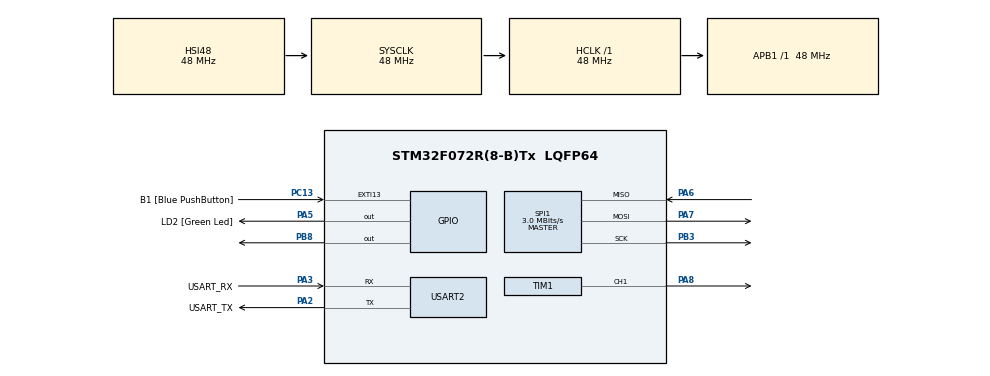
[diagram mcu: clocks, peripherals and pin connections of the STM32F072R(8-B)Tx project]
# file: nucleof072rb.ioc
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Mcu.Family=STM32F0
Mcu.Name=STM32F072R(8-B)Tx
Mcu.Package=LQFP64
PA13.Mode=Serial_Wire
PA13.Signal=SYS_SWDIO
PA14.GPIO_Label=TCK
PA14.Mode=Serial_Wire
PA14.Signal=SYS_SWCLK
PA2.GPIO_Label=USART_TX
PA2.GPIO_Mode=GPIO_MODE_AF_PP
PA2.GPIO_PuPd=GPIO_NOPULL
PA2.GPIO_Speed=GPIO_SPEED_FREQ_LOW
PA2.Mode=Asynchronous
PA2.Signal=USART2_TX
PA3.GPIO_Label=USART_RX
PA3.GPIO_Mode=GPIO_MODE_AF_PP
PA3.GPIO_PuPd=GPIO_NOPULL
PA3.GPIO_Speed=GPIO_SPEED_FREQ_LOW
PA3.Mode=Asynchronous
PA3.Signal=USART2_RX
PA5.GPIO_Label=LD2 [Green Led]
PA5.GPIO_Mode=GPIO_MODE_OUTPUT_PP
PA5.GPIO_PuPd=GPIO_NOPULL
PA5.GPIO_Speed=GPIO_SPEED_FREQ_LOW
PA5.Signal=GPIO_Output
PA6.Mode=Full_Duplex_Master
PA6.Signal=SPI1_MISO
PA7.Mode=Full_Duplex_Master
PA7.Signal=SPI1_MOSI
PA8.Signal=S_TIM1_CH1
PB3.Mode=Full_Duplex_Master
PB3.Signal=SPI1_SCK
PB8.Signal=GPIO_Output
PC13.GPIO_Label=B1 [Blue PushButton]
PC13.GPIO_ModeDefaultEXTI=GPIO_MODE_IT_FALLING
PC13.Signal=GPXTI13
PC14-OSC32_IN.Mode=LSE-External-Oscillator
PC14-OSC32_IN.Signal=RCC_OSC32_IN
PC15-OSC32_OUT.Mode=LSE-External-Oscillator
PC15-OSC32_OUT.Signal=RCC_OSC32_OUT
PF0-OSC_IN.Mode=HSE-External-Clock-Source
PF0-OSC_IN.Signal=RCC_OSC_IN
PF1-OSC_OUT.Signal=RCC_OSC_OUT
ProjectManager.HeapSize=0x200
ProjectManager.StackSize=0x400
ProjectManager.TargetToolchain=STM32CubeIDE
RCC.AHBFreq_Value=48000000
RCC.APB1Freq_Value=48000000
RCC.APB1TimFreq_Value=48000000
RCC.FLatency-AdvancedSettings=FLASH_LATENCY_1
RCC.HCLKFreq_Value=48000000
RCC.PLLDivider=RCC_PREDIV_DIV2
RCC.PLLMUL=RCC_PLL_MUL12
RCC.PREFETCH_ENABLE-AdvancedSettings=1
RCC.SYSCLKFreq_VALUE=48000000
RCC.SYSCLKSource=RCC_SYSCLKSOURCE_HSI48
SH.S_TIM1_CH1.0=TIM1_CH1,PWM Generation1 CH1
SPI1.BaudRatePrescaler=SPI_BAUDRATEPRESCALER_16
SPI1.CalculateBaudRate=3.0 MBits/s
SPI1.DataSize=SPI_DATASIZE_8BIT
SPI1.Direction=SPI_DIRECTION_2LINES
SPI1.Mode=SPI_MODE_MASTER
SPI1.VirtualType=VM_MASTER
TIM1.Channel-PWM\ Generation1\ CH1=TIM_CHANNEL_1
TIM1.Prescaler=47
TIM1.Pulse-PWM\ Generation1\ CH1=1500
USART2.VirtualMode=VM_ASYNC
USART2.VirtualMode-Asynchronous=VM_ASYNC
VP_TIM1_VS_ClockSourceINT.Mode=Internal
board=NUCLEO-F072RB

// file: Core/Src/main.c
/* USER CODE BEGIN Header */
/**
  ******************************************************************************
  * @file           : main.c
  * @brief          : Main program body
  ******************************************************************************
  * @attention
  *
  * <h2><center>&copy; Copyright (c) 2021 STMicroelectronics.
  * All rights reserved.</center></h2>
  *
  * This software component is licensed by ST under BSD 3-Clause license,
  * the "License"; You may not use this file except in compliance with the
  * License. You may obtain a copy of the License at:
  *                        opensource.org/licenses/BSD-3-Clause
  *
  ******************************************************************************
  */
/* USER CODE END Header */
#include "main.h"
#include "spi.h"
#include "tim.h"
#include "usart.h"
#include "gpio.h"

/* USER CODE BEGIN PV */

	char uart_buf[50];
	int uart_buf_len;
	char spi_buf[20];

/* USER CODE END PV */

void SystemClock_Config(void);
uint16_t readADC(int8_t channel);
void setPWM(uint16_t adc_value);

int main(void)
{

  /* MCU Configuration--------------------------------------------------------*/

  /* Reset of all peripherals, Initializes the Flash interface and the Systick. */
  HAL_Init();

  /* Configure the system clock */
  SystemClock_Config();

  /* Initialize all configured peripherals */
  MX_GPIO_Init();
  MX_USART2_UART_Init();
  MX_SPI1_Init();
  MX_TIM1_Init();

  /* USER CODE BEGIN 2 */
  HAL_TIM_PWM_Start(&htim1, TIM_CHANNEL_1);

  uint32_t initial_duty_cycle = (5 * (TIM1->ARR + 1)) / 100;
  __HAL_TIM_SET_COMPARE(&htim1, TIM_CHANNEL_1, initial_duty_cycle);
  /* USER CODE END 2 */

  /* Infinite loop */
  /* USER CODE BEGIN WHILE */
  while (1)
  {
	  uint16_t adc_value = readADC(0);
	  setPWM(adc_value);

  }
    /* USER CODE END WHILE */

    /* USER CODE BEGIN 3 */
  HAL_Delay(10);
  /* USER CODE END 3 */
}

void SystemClock_Config(void)
{
  RCC_OscInitTypeDef RCC_OscInitStruct = {0};
  RCC_ClkInitTypeDef RCC_ClkInitStruct = {0};
  RCC_PeriphCLKInitTypeDef PeriphClkInit = {0};

  /** Initializes the RCC Oscillators according to the specified parameters
  * in the RCC_OscInitTypeDef structure.
  */
  RCC_OscInitStruct.OscillatorType = RCC_OSCILLATORTYPE_HSI48;
  RCC_OscInitStruct.HSI48State = RCC_HSI48_ON;
  RCC_OscInitStruct.PLL.PLLState = RCC_PLL_NONE;
  if (HAL_RCC_OscConfig(&RCC_OscInitStruct) != HAL_OK)
  {
    Error_Handler();
  }
  /** Initializes the CPU, AHB and APB buses clocks
  */
  RCC_ClkInitStruct.ClockType = RCC_CLOCKTYPE_HCLK|RCC_CLOCKTYPE_SYSCLK
                              |RCC_CLOCKTYPE_PCLK1;
  RCC_ClkInitStruct.SYSCLKSource = RCC_SYSCLKSOURCE_HSI48;
  RCC_ClkInitStruct.AHBCLKDivider = RCC_SYSCLK_DIV1;
  RCC_ClkInitStruct.APB1CLKDivider = RCC_HCLK_DIV1;

  if (HAL_RCC_ClockConfig(&RCC_ClkInitStruct, FLASH_LATENCY_1) != HAL_OK)
  {
    Error_Handler();
  }
  PeriphClkInit.PeriphClockSelection = RCC_PERIPHCLK_USART2;
  PeriphClkInit.Usart2ClockSelection = RCC_USART2CLKSOURCE_PCLK1;
  if (HAL_RCCEx_PeriphCLKConfig(&PeriphClkInit) != HAL_OK)
  {
    Error_Handler();
  }
}

/* USER CODE BEGIN 4 */
//This function sends an SPI request to the ADC chip, reads the ADC value converts it and returns the value
uint16_t readADC(int8_t channel){
	uint8_t spi_tx[3];
	    uint8_t spi_rx[3] = {0};

	    if (channel > 7) return 0;

	    // Construct the command byte
	    spi_tx[0] = 0x01;
	    spi_tx[1] = (0x08 | channel) << 4;
	    spi_tx[2] = 0x00;
	    HAL_GPIO_WritePin(GPIOB, GPIO_PIN_4, GPIO_PIN_RESET);

	    HAL_SPI_TransmitReceive(&hspi1, spi_tx, spi_rx, 3, HAL_MAX_DELAY);

	    HAL_GPIO_WritePin(GPIOB, GPIO_PIN_4, GPIO_PIN_SET);

	    uint16_t result = ((spi_rx[1] & 0x03) << 8) | spi_rx[2];

	    return result;

}

//Generates PWM with duty cycle based on ADC reading
void setPWM(uint16_t adc_value){

	int max_val = 1023;

	 uint32_t duty_cycle = (adc_value * (TIM1->ARR + 1)) / max_val;
	    __HAL_TIM_SET_COMPARE(&htim1, TIM_CHANNEL_1, duty_cycle);
}
/* USER CODE END 4 */

void Error_Handler(void)
{
  __disable_irq();
  while (1)
  {
  }
}

/************************ (C) COPYRIGHT STMicroelectronics *****END OF FILE****/
